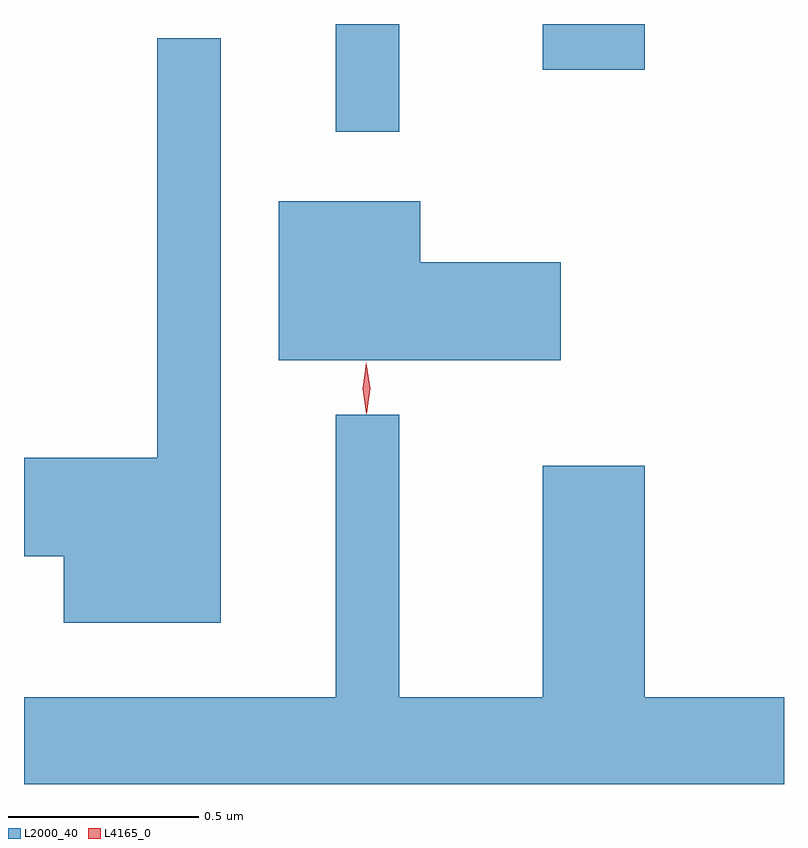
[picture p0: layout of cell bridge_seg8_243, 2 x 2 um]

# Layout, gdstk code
import gdstk
lib = gdstk.Library(unit=1e-6, precision=1e-09)
def R(c, l, rs):  # rectangles x0, y0, x1, y1
    for r in rs: c.add(gdstk.rectangle(r[:2], r[2:], *l))
def P(c, l, *ps):  # polygons
    for p in ps: c.add(gdstk.Polygon(p, *l))
L2000_40 = (2000, 40)
L4165_0 = (4165, 0)

bridge_seg8_243 = lib.new_cell('bridge_seg8_243')
R(bridge_seg8_243, L2000_40, [(1153.591,1875.913,1153.759,1876.196), (1154.136,1876.076,1154.404,1876.196)])
P(bridge_seg8_243, L2000_40, [(1153.289,1876.158),(1153.121,1876.158),(1153.121,1875.054),(1152.771,1875.054),(1152.771,1874.796),(1152.876,1874.796),(1152.876,1874.621),(1153.289,1874.621)],
  [(1154.184,1875.569),(1153.814,1875.569),(1153.814,1875.729),(1153.441,1875.729),(1153.441,1875.311),(1154.184,1875.311)],
  [(1152.771,1874.196),(1154.771,1874.196),(1154.771,1874.424),(1154.404,1874.424),(1154.404,1875.034),(1154.136,1875.034),(1154.136,1874.424),(1153.759,1874.424),(1153.759,1875.168),(1153.591,1875.168),(1153.591,1874.424),(1152.771,1874.424)])
P(bridge_seg8_243, L4165_0, [(1153.672,1875.173),(1153.672,1875.174),(1153.662,1875.236),(1153.671,1875.299),(1153.672,1875.3),(1153.672,1875.299),(1153.682,1875.236),(1153.673,1875.174)],
  [(1153.672,1875.17),(1153.672,1875.17),(1153.662,1875.238),(1153.671,1875.305),(1153.671,1875.306),(1153.672,1875.305),(1153.682,1875.238),(1153.673,1875.17)])

lib.write_gds('bridge_seg8_243.gds')
